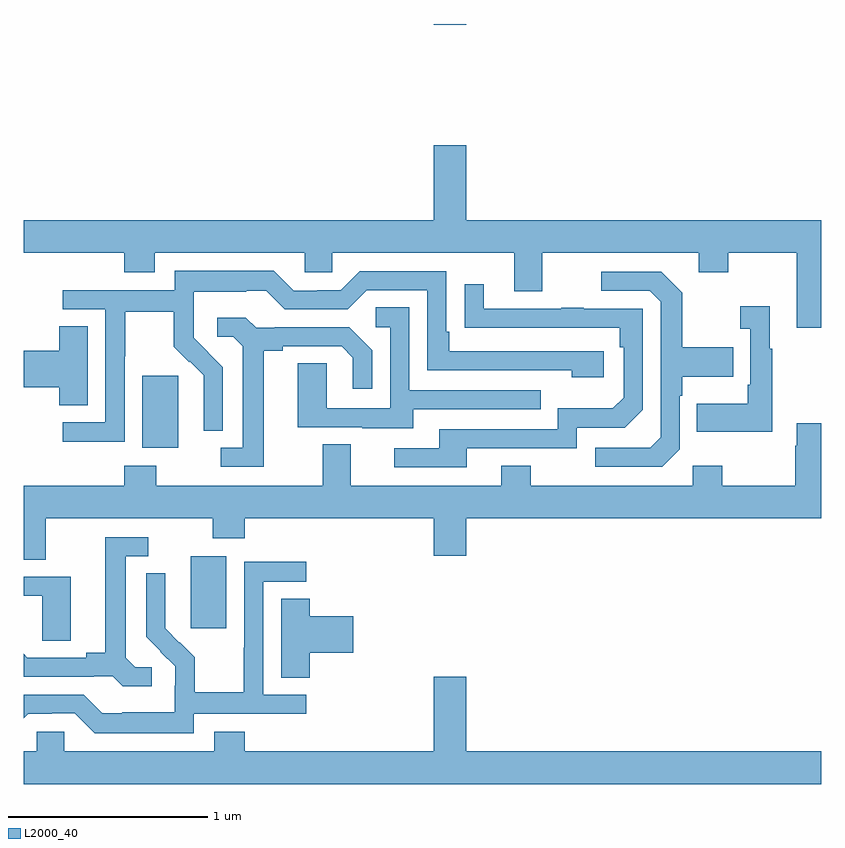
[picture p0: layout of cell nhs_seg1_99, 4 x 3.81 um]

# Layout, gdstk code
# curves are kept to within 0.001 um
import gdstk
lib = gdstk.Library(unit=1e-6, precision=1e-09)
def R(c, l, rs):  # rectangles x0, y0, x1, y1
    for r in rs: c.add(gdstk.rectangle(r[:2], r[2:], *l))
def P(c, l, *ps):  # polygons
    for p in ps: c.add(gdstk.Polygon(p, *l))
L2000_40 = (2000, 40)

nhs_seg1_99 = lib.new_cell('nhs_seg1_99')
R(nhs_seg1_99, L2000_40, [(115.838,563.169,116.017,563.53), (115.595,564.074,115.774,564.435), (117.056,566.196,117.22,566.199)])
P(nhs_seg1_99, L2000_40, [(119,565.216),(117.22,565.216),(117.22,565.591),(117.056,565.591),(117.056,565.216),(115,565.216),(115,565.052),(115.505,565.052),(115.505,564.953),(115.657,564.953),(115.657,565.052),(116.409,565.052),(116.409,564.954),(116.547,564.954),(116.547,565.052),(117.461,565.052),(117.461,564.858),(117.601,564.858),(117.601,565.052),(118.385,565.052),(118.385,564.953),(118.533,564.953),(118.533,565.052),(118.877,565.052),(118.877,564.675),(119,564.675)],
  [(115.506,564.532),(115.509,564.532),(115.509,564.756),(115.753,564.756),(115.753,564.581),(115.83,564.504),(115.833,564.507),(115.904,564.437),(115.904,564.314),(115.902,564.314),(115.902,564.16),(115.998,564.16),(115.998,564.478),(115.852,564.626),(115.852,564.723),(115.854,564.723),(115.854,564.857),(116.117,564.857),(116.117,564.861),(116.217,564.861),(116.31,564.768),(116.625,564.768),(116.721,564.864),(117.024,564.864),(117.024,564.462),(117.749,564.462),(117.749,564.428),(117.91,564.428),(117.91,564.558),(117.133,564.558),(117.133,564.655),(117.12,564.655),(117.12,564.96),(116.685,564.96),(116.589,564.864),(116.471,564.864),(116.471,564.861),(116.355,564.861),(116.255,564.961),(115.758,564.961),(115.758,564.864),(115.197,564.864),(115.197,564.768),(115.41,564.768),(115.41,564.201),(115.197,564.201),(115.197,564.103),(115.506,564.103)],
  [(118.29,564.066),(118.29,564.335),(118.303,564.335),(118.303,564.431),(118.559,564.431),(118.559,564.579),(118.303,564.579),(118.303,564.851),(118.197,564.957),(117.897,564.957),(117.897,564.861),(118.14,564.861),(118.194,564.807),(118.194,564.126),(118.143,564.075),(117.867,564.075),(117.867,563.979),(118.203,563.979)],
  [(117.223,564.072),(117.774,564.072),(117.774,564.174),(118.014,564.174),(118.104,564.264),(118.104,564.771),(117.809,564.771),(117.809,564.776),(117.697,564.776),(117.697,564.771),(117.307,564.771),(117.307,564.895),(117.211,564.895),(117.211,564.676),(117.988,564.675),(117.988,564.578),(118.008,564.578),(118.008,564.324),(117.955,564.271),(117.678,564.271),(117.678,564.168),(117.083,564.168),(117.083,564.072),(116.859,564.072),(116.859,563.976),(117.223,563.976)],
  [(118.753,564.571),(118.741,564.571),(118.741,564.784),(118.593,564.784),(118.593,564.671),(118.644,564.671),(118.644,564.391),(118.632,564.391),(118.632,564.295),(118.375,564.295),(118.375,564.155),(118.753,564.155)],
  [(116.953,564.267),(117.593,564.267),(117.593,564.363),(116.934,564.363),(116.934,564.779),(116.766,564.779),(116.766,564.678),(116.838,564.678),(116.838,564.273),(116.52,564.273),(116.52,564.497),(116.375,564.497),(116.375,564.177),(116.699,564.177),(116.699,564.173),(116.953,564.173)],
  [(116.203,564.56),(116.299,564.56),(116.299,564.582),(116.594,564.582),(116.651,564.525),(116.651,564.369),(116.748,564.369),(116.748,564.562),(116.632,564.678),(116.26,564.678),(116.26,564.675),(116.166,564.675),(116.114,564.727),(115.971,564.727),(115.971,564.63),(116.052,564.63),(116.099,564.583),(116.099,564.075),(115.989,564.075),(115.989,563.979),(116.203,563.979)],
  [(115.321,564.683),(115.178,564.683),(115.178,564.56),(115,564.56),(115,564.377),(115.178,564.377),(115.178,564.286),(115.321,564.286)],
  [(115.111,563.72),(115.948,563.72),(115.948,563.621),(116.108,563.621),(116.108,563.72),(117.056,563.72),(117.056,563.532),(117.22,563.532),(117.22,563.72),(119,563.72),(119,564.196),(118.877,564.196),(118.877,564.083),(118.87,564.083),(118.87,563.884),(118.503,563.884),(118.503,563.983),(118.356,563.983),(118.356,563.884),(117.543,563.884),(117.543,563.983),(117.395,563.983),(117.395,563.884),(116.641,563.884),(116.641,564.092),(116.501,564.092),(116.501,563.884),(115.665,563.884),(115.665,563.983),(115.505,563.983),(115.505,563.884),(115,563.884),(115,563.512),(115.111,563.512)],
  [(115.642,562.974),(115.56,562.974),(115.513,563.021),(115.513,563.529),(115.624,563.529),(115.624,563.625),(115.409,563.625),(115.409,563.045),(115.313,563.045),(115.313,563.022),(115.018,563.022),(115,563.04),(115,562.926),(115.352,562.926),(115.352,562.929),(115.446,562.929),(115.498,562.877),(115.642,562.877)],
  [(115.854,562.74),(116.416,562.74),(116.416,562.836),(116.202,562.836),(116.202,563.403),(116.416,563.403),(116.416,563.502),(116.106,563.502),(116.106,563.072),(116.104,563.072),(116.104,562.849),(115.859,562.849),(115.859,563.023),(115.782,563.1),(115.779,563.097),(115.709,563.168),(115.71,563.444),(115.614,563.444),(115.614,563.126),(115.76,562.978),(115.76,562.881),(115.758,562.881),(115.758,562.747),(115.495,562.747),(115.495,562.743),(115.395,562.743),(115.302,562.836),(115,562.836),(115,562.717),(115.023,562.74),(115.142,562.74),(115.142,562.743),(115.257,562.743),(115.357,562.643),(115.854,562.643)],
  [(115.237,563.427),(115,563.427),(115,563.331),(115.092,563.331),(115.092,563.107),(115.237,563.107)],
  [(116.435,563.045),(116.653,563.045),(116.653,563.228),(116.435,563.228),(116.435,563.318),(116.291,563.318),(116.291,562.921),(116.435,562.921)],
  [(119,562.552),(117.22,562.552),(117.22,562.927),(117.056,562.927),(117.056,562.552),(116.108,562.552),(116.108,562.651),(115.955,562.651),(115.955,562.552),(115.203,562.552),(115.203,562.65),(115.065,562.65),(115.065,562.552),(115,562.552),(115,562.388),(119,562.388)])

lib.write_gds('nhs_seg1_99.gds')
